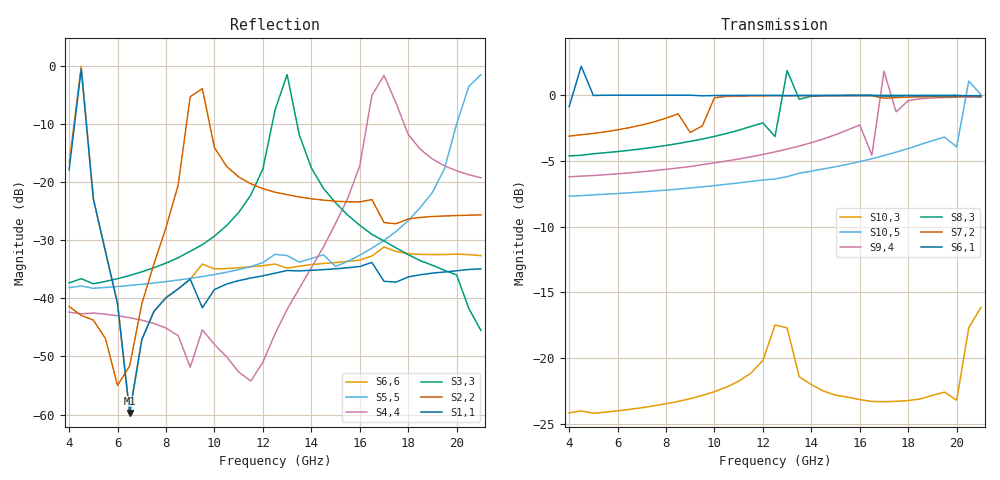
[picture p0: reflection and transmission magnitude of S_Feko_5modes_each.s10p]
! S-parameter export from POSTFEKO
! Filename: circular_2wg_5modes
! Creation date: 2019-12-28 12:44:53
# GHz S MA R  5.0000000E+01
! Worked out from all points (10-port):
!   35 points, 4 GHz to 21 GHz, reference 50 ohm
!   strongest paths, dB at 4 GHz, 8 GHz, 12.5 GHz, 17 GHz, 21 GHz:
!     S6,1: -0.9, 0.0, 0.0, -0.1, 0.0
!     S7,2: -3.1, -1.8, 0.0, -0.2, -0.1
!     S8,3: -4.6, -3.8, -3.1, 0.0, -0.1
!     S9,4: -6.2, -5.6, -4.3, 1.8, -0.1
!     S10,5: -7.7, -7.2, -6.4, -4.6, 0.0
!     S10,3: -24.1, -23.5, -17.5, -23.3, -16.1
!   lowest |S11| = -59.7 dB at 6.5 GHz (marker M1), VSWR 1.00, Z = 50 + j0.0959 ohm
!   |S11| at or under -10 dB: start of sweep to 4.226 GHz; 4.713 GHz to end of sweep
